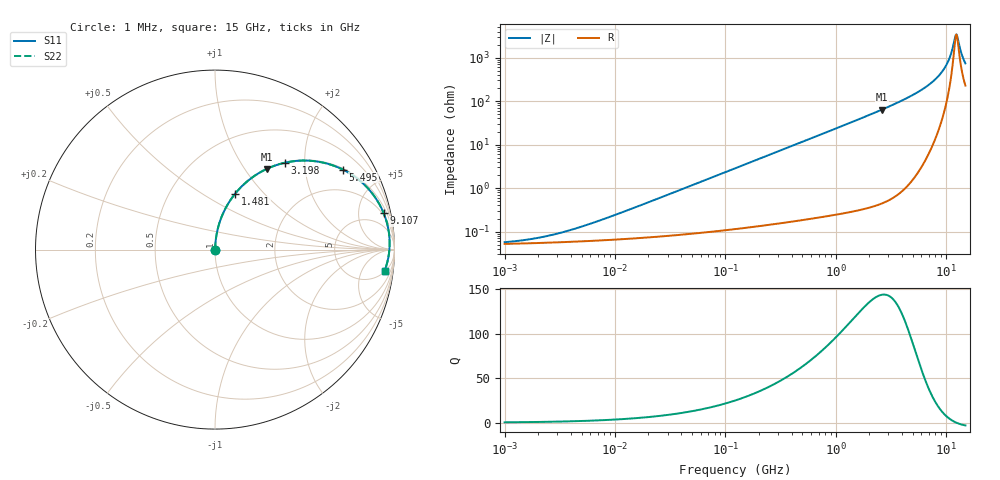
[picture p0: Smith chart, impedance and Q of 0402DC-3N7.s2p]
# MHz  S  MA  R  50
!Freq  MagS11  AngS11  MagS21  AngS21  MagS12  AngS12  MagS22  AngS22
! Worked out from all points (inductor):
!   801 points, 1 MHz to 15 GHz, reference 50 ohm
!   read as one part in series: L = 3.7 nH near 8.305 MHz
!   highest Q = 144 at 2.607 GHz (marker M1), where L = 3.87 nH
!   self-resonance near 12.45 GHz
!   S11 on the Smith chart (normalised r, x): 1 MHz: 1.00, +0.00; 1.481 GHz: 1.01, +0.70; 3.198 GHz: 1.01, +1.59; 5.495 GHz: 1.04, +3.18; 9.107 GHz: 1.69, +9.10; 15 GHz: 6, -14
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1  0.0005708 24.0  0.9995 -0.0  0.9995 -0.0  0.0005708 24.0
2.238564  0.0007583 43.3  0.9994 -0.0  0.9994 -0.0  0.0007583 43.3
5.011168  0.001309 62.8  0.9994 -0.1  0.9994 -0.1  0.001309 62.8
24.81158  0.005814 82.1  0.9992 -0.3  0.9992 -0.3  0.005814 82.1
122.8485  0.02854 86.1  0.9985 -1.6  0.9985 -1.6  0.02854 86.1
299.1599  0.06933 84.8  0.9961 -4.0  0.9961 -4.0  0.06933 84.8
608.2547  0.1401 81.1  0.9882 -8.1  0.9882 -8.1  0.1401 81.1
1481.218  0.3289 70.3  0.9416 -19.2  0.9416 -19.2  0.3289 70.3
2606.873  0.5338 57.3  0.8419 -32.3  0.8419 -32.3  0.5338 57.3
3048.066  0.6001 52.7  0.7957 -36.9  0.7957 -36.9  0.6001 52.7
3198.292  0.6209 51.2  0.7795 -38.4  0.7795 -38.4  0.6209 51.2
4217.517  0.7393 41.8  0.667 -47.7  0.667 -47.7  0.7393 41.8
5495.057  0.8412 32.0  0.5294 -57.3  0.5294 -57.3  0.8412 32.0
7333.89  0.9247 20.7  0.3533 -67.6  0.3533 -67.6  0.9247 20.7
9106.595  0.9617 12.1  0.2109 -73.5  0.2109 -73.5  0.9617 12.1
10520.52  0.9728 6.5  0.1149 -73.1  0.1149 -73.1  0.9728 6.5
11172.6  0.9741 4.2  0.07603 -68.0  0.07603 -68.0  0.9741 4.2
11865.1  0.9735 1.8  0.04119 -49.0  0.04119 -49.0  0.9735 1.8
12301.04  0.9722 0.4  0.02886 -15.2  0.02886 -15.2  0.9722 0.4
12752.99  0.9702 -0.9  0.03386 27.8  0.03386 27.8  0.9702 -0.9
14041.04  0.9615 -4.6  0.08719 61.5  0.08719 61.5  0.9615 -4.6
15000  0.9527 -7.0  0.1288 65.0  0.1288 65.0  0.9527 -7.0
